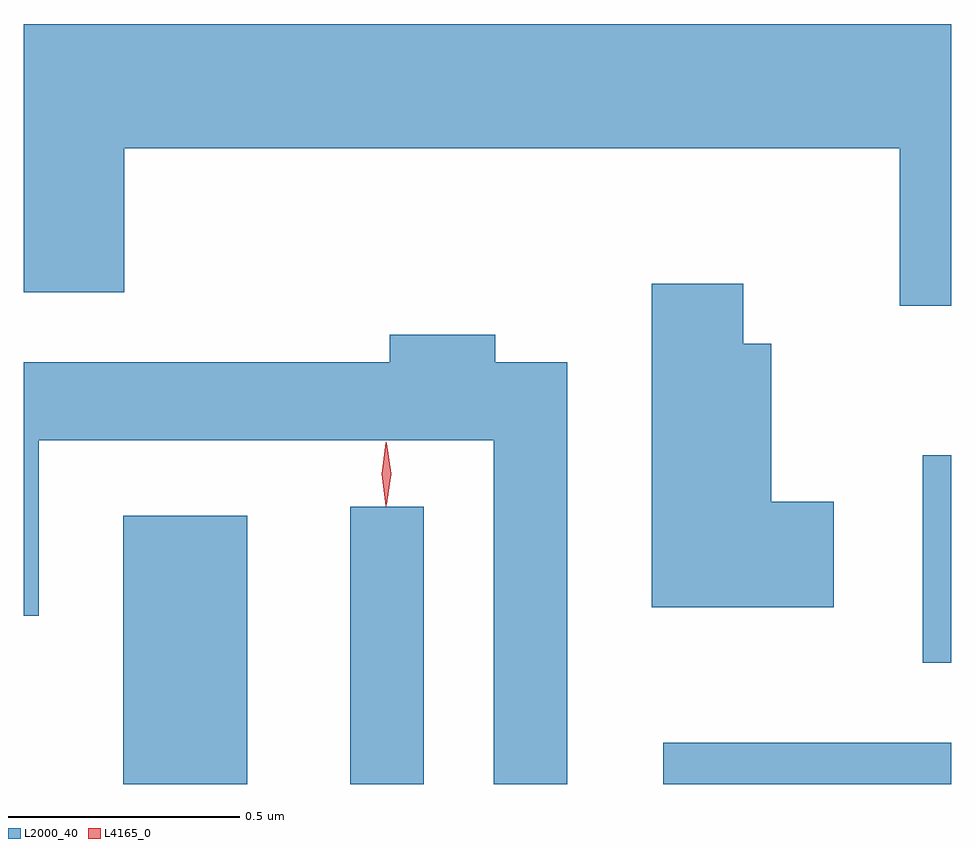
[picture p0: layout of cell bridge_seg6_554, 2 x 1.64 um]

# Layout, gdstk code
import gdstk
lib = gdstk.Library(unit=1e-6, precision=1e-09)
def R(c, l, rs):  # rectangles x0, y0, x1, y1
    for r in rs: c.add(gdstk.rectangle(r[:2], r[2:], *l))
def P(c, l, *ps):  # polygons
    for p in ps: c.add(gdstk.Polygon(p, *l))
L2000_40 = (2000, 40)
L4165_0 = (4165, 0)

bridge_seg6_554 = lib.new_cell('bridge_seg6_554')
R(bridge_seg6_554, L2000_40, [(540.866,1639.685,541.134,1640.264), (541.356,1639.685,541.514,1640.283), (542.031,1639.685,542.652,1639.774), (542.591,1639.946,542.652,1640.394)])
P(bridge_seg6_554, L2000_40, [(542.652,1641.324),(540.652,1641.324),(540.652,1640.746),(540.869,1640.746),(540.869,1641.056),(542.541,1641.056),(542.541,1640.716),(542.652,1640.716)],
  [(542.399,1640.294),(542.264,1640.294),(542.264,1640.634),(542.204,1640.634),(542.204,1640.764),(542.006,1640.764),(542.006,1640.066),(542.399,1640.066)],
  [(541.824,1640.594),(541.669,1640.594),(541.669,1640.654),(541.441,1640.654),(541.441,1640.594),(540.652,1640.594),(540.652,1640.048),(540.684,1640.048),(540.684,1640.426),(541.666,1640.426),(541.666,1639.685),(541.824,1639.685)])
P(bridge_seg6_554, L4165_0, [(541.434,1640.287),(541.434,1640.288),(541.424,1640.354),(541.434,1640.42),(541.434,1640.42),(541.435,1640.42),(541.444,1640.354),(541.435,1640.288)],
  [(541.433,1640.284),(541.424,1640.353),(541.433,1640.422),(541.434,1640.423),(541.434,1640.422),(541.444,1640.353),(541.434,1640.284),(541.434,1640.284)])

lib.write_gds('bridge_seg6_554.gds')
